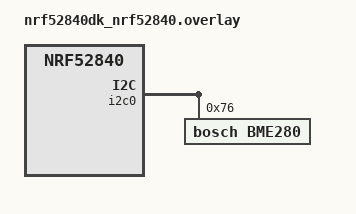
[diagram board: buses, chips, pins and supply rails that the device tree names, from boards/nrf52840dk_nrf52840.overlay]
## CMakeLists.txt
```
# SPDX-License-Identifier: Apache-2.0

cmake_minimum_required(VERSION 3.20.0)
include($ENV{ZEPHYR_BASE}/cmake/app/boilerplate.cmake NO_POLICY_SCOPE)
find_package(Zephyr REQUIRED HINTS $ENV{ZEPHYR_BASE})
project(bme280)

FILE(GLOB app_sources src/*.c)
#target_sources(app PRIVATE ${app_sources})
target_sources(app PRIVATE  src/main.c services/my_service.c)

zephyr_library_include_directories(.)
```

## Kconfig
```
# Copyright (c) 2020, Nordic Semiconductor ASA
# SPDX-License-Identifier: Apache-2.0

config LOG
	default y

config LOG_PRINTK
	default y

config SENSOR_LOG_LEVEL
	default 4

# Enable SPI and I2C support by default so that the sample works with
# the device connected either way. These defaults can be overridden if
# needed.
#config SPI
#	default y

config I2C
	default y

#source "Kconfig.zephyr"
source "$ZEPHYR_BASE/Kconfig.zephyr"
```

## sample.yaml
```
sample:
  name: BME280 Sensor sample
tests:
  sample.sensor.bme280:
    harness: console
    tags: sensors
    platform_allow: adafruit_feather_m0_basic_proto
    integration_platforms:
      - adafruit_feather_m0_basic_proto
    harness_config:
        type: one_line
        regex:
            - "temp: (.*); press: (.*); humidity: (.*)"
        fixture: fixture_i2c_bme280
  sample.sensor.bme280.i2c:
    harness: console
    tags: sensors
    depends_on: i2c bme280
    extra_args: "DTC_OVERLAY_FILE=arduino_i2c.overlay"
    harness_config:
        type: one_line
        regex:
            - "temp: (.*); press: (.*); humidity: (.*)"
        fixture: fixture_i2c_bme280
```

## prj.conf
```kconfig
CONFIG_SENSOR=y

CONFIG_BT=y
CONFIG_BT_DEBUG_LOG=y
CONFIG_BT_MAX_CONN=1
CONFIG_BT_L2CAP_TX_BUF_COUNT=5
CONFIG_BT_PERIPHERAL=y
CONFIG_BT_DEVICE_NAME="My_Device"
CONFIG_BT_DEVICE_APPEARANCE=962

CONFIG_HEAP_MEM_POOL_SIZE=2048

# This example requires more workqueue stack
CONFIG_SYSTEM_WORKQUEUE_STACK_SIZE=2048
```

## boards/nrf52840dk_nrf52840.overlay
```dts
/*
 * Copyright (c) 2020, Nordic Semiconductor ASA
 *
 * SPDX-License-Identifier: Apache-2.0
 */

/*
 * Example configuration of a BME280 device on an Arduino I2C bus.
 *
 * Device address 0x76 is assumed. Your device may have a different
 * address; check your device documentation if unsure.
 */
&i2c0 {
	status = "okay";
	bme280@76 {
		compatible = "bosch,bme280";
		reg = <0x76>;
	};
};
```

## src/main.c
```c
/*
 * Copyright (c) 2012-2014 Wind River Systems, Inc.
 * Copyright (c) 2021 Nordic Semiconductor ASA
 *
 * SPDX-License-Identifier: Apache-2.0
 */
#include <zephyr/types.h>
#include <stddef.h>
#include <string.h>
#include <errno.h>
#include <sys/printk.h>
#include <sys/byteorder.h>
#include <zephyr.h>
#include <drivers/gpio.h>
#include <soc.h>
//bme
//#include <zephyr/zephyr.h>
#include <zephyr/device.h>
#include <zephyr/devicetree.h>
#include <zephyr/drivers/sensor.h>

#include <bluetooth/bluetooth.h>
#include <bluetooth/hci.h>
#include <bluetooth/conn.h>
#include <bluetooth/uuid.h>
#include <bluetooth/gatt.h>

#include "../services/my_service.h"


#define DEVICE_NAME 		CONFIG_BT_DEVICE_NAME // Set in proj.conf
#define DEVICE_NAME_LEN        	(sizeof(DEVICE_NAME) - 1)

typedef struct{
	uint16_t temp;
	uint16_t pres;
	uint16_t humi;
}bme_meas_t;

static K_SEM_DEFINE(ble_init_ok, 0, 1);
struct bt_conn *my_connection;
static const struct bt_data ad[] = 
{
	BT_DATA_BYTES(BT_DATA_FLAGS, (BT_LE_AD_GENERAL | BT_LE_AD_NO_BREDR)),
	BT_DATA(BT_DATA_NAME_COMPLETE, DEVICE_NAME, DEVICE_NAME_LEN),
};

static const struct bt_data sd[] = 
{
	BT_DATA_BYTES(BT_DATA_UUID128_ALL, MY_SERVICE_UUID),
};
bme_meas_t bme_meas ={0};

static void connected(struct bt_conn *conn, uint8_t err)
{
	struct bt_conn_info info; 
	char addr[BT_ADDR_LE_STR_LEN];

	my_connection = conn;

	if (err) 
	{
		printk("Connection failed (err %u)\n", err);
		return;
	}
	else if(bt_conn_get_info(conn, &info))
	{
		printk("Could not parse connection info\n");
	}
	else
	{
		bt_addr_le_to_str(bt_conn_get_dst(conn), addr, sizeof(addr));
		
		printk("Connection established!		\n\
		Connected to: %s					\n\
		Role: %u							\n\
		Connection interval: %u				\n\
		Slave latency: %u					\n\
		Connection supervisory timeout: %u	\n"
		, addr, info.role, info.le.interval, info.le.latency, info.le.timeout);
	}
}

static void disconnected(struct bt_conn *conn, uint8_t reason)
{
	printk("Disconnected (reason %u)\n", reason);

	my_connection = NULL;
}

static bool le_param_req(struct bt_conn *conn, struct bt_le_conn_param *param)
{
	//If acceptable params, return true, otherwise return false.
	return true; 
}

static void le_param_updated(struct bt_conn *conn, uint16_t interval, uint16_t latency, uint16_t timeout)
{
	struct bt_conn_info info; 
	char addr[BT_ADDR_LE_STR_LEN];
	
	if(bt_conn_get_info(conn, &info))
	{
		printk("Could not parse connection info\n");
	}
	else
	{
		bt_addr_le_to_str(bt_conn_get_dst(conn), addr, sizeof(addr));
		
		printk("Connection parameters updated!	\n\
		Connected to: %s						\n\
		New Connection Interval: %u				\n\
		New Slave Latency: %u					\n\
		New Connection Supervisory Timeout: %u	\n"
		, addr, info.le.interval, info.le.latency, info.le.timeout);
	}
}


static struct bt_conn_cb conn_callbacks = {
	.connected		    = connected,
	.disconnected   	= disconnected,
	.le_param_req		= le_param_req,
	.le_param_updated	= le_param_updated
};

static void bt_ready(int err)
{
	if (err) {
		printk("BLE init failed with error code %d\n", err);
		return;
	}
	//Configure connection callbacks
	bt_conn_cb_register(&conn_callbacks);

	//Initalize services
	err = my_service_init();

	//Start advertising
	err = bt_le_adv_start(BT_LE_ADV_CONN, ad, ARRAY_SIZE(ad),
			      sd, ARRAY_SIZE(sd));
	/*
	err = bt_le_adv_start(BT_LE_ADV_PARAM(BT_LE_ADV_OPT_CONNECTABLE | BT_LE_ADV_OPT_ONE_TIME | BT_LE_ADV_OPT_USE_NAME,
							160, 	// units of 0.625ms
							1600),	// units of 0.625ms
						ad, ARRAY_SIZE(ad),
						sd, ARRAY_SIZE(sd));
	*/
	if (err) 
	{
		printk("Advertising failed to start (err %d)\n", err);
		return;
	}

	k_sem_give(&ble_init_ok);
}

static void error(void)
{
	while (true) {
		printk("Error!\n");
		/* Spin for ever */
		k_sleep(K_MSEC(1000)); //1000ms
	}
}
/*
 * Get a device structure from a devicetree node with compatible
 * "bosch,bme280". (If there are multiple, just pick one.)
 */
static const struct device *get_bme280_device(void)
{
	const struct device *dev = DEVICE_DT_GET_ANY(bosch_bme280);

	if (dev == NULL) {
		/* No such node, or the node does not have status "okay". */
		printk("\nError: no device found.\n");
		return NULL;
	}

	if (!device_is_ready(dev)) {
		printk("\nError: Device \"%s\" is not ready; "
		       "check the driver initialization logs for errors.\n",
		       dev->name);
		return NULL;
	}

	printk("Found device \"%s\", getting sensor data\n", dev->name);
	return dev;
}

void main(void)
{
	
	int err = 0;
	uint32_t number = 0;
	struct sensor_value temp, press, humidity;

	const struct device *dev = get_bme280_device();
	if (dev == NULL) {
		return;
	}
	
	printk("Starting Nordic BLE peripheral tutorial\n");
	err = bt_enable(bt_ready);

	if (err) 
	{
		printk("BLE initialization failed\n");
		error(); //Catch error
	}
	

	while (1) {
		sensor_sample_fetch(dev);
		sensor_channel_get(dev, SENSOR_CHAN_AMBIENT_TEMP, &temp);
		sensor_channel_get(dev, SENSOR_CHAN_PRESS, &press);
		sensor_channel_get(dev, SENSOR_CHAN_HUMIDITY, &humidity);

		printk("temp: %d.%02d; press: %d.%02d; humidity: %d.%02d\n",
		      temp.val1, temp.val2, press.val1, press.val2,
		      humidity.val1, humidity.val2);
		bme_meas.temp = temp.val1;
		bme_meas.pres = press.val1;
		bme_meas.humi = humidity.val1;

		my_service_send(my_connection, &bme_meas, sizeof(bme_meas));
		//my_service_send(my_connection, &(uint16_t)temp, sizeof(2));
		//my_service_send(my_connection, &(uint16_t)press, sizeof(2));
		//my_service_send(my_connection, &(uint16_t)humidity, sizeof(2));

		k_sleep(K_MSEC(1000));
	}
}
```
